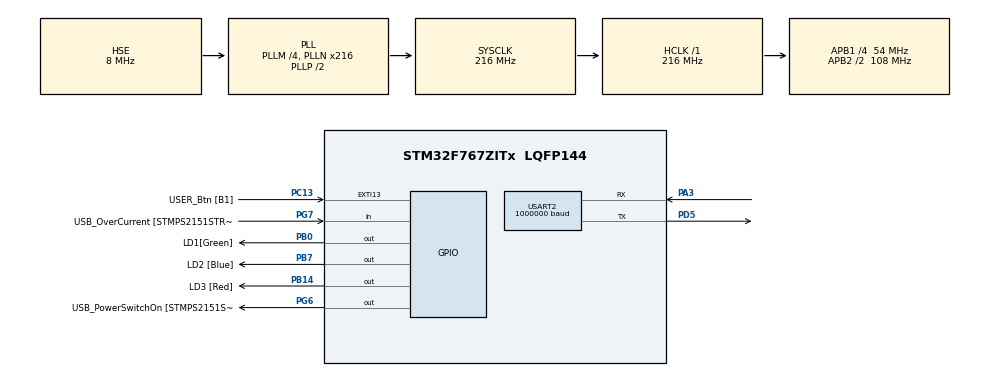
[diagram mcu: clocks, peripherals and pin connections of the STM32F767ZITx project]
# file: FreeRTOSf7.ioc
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FREERTOS.INCLUDE_vTaskDelayUntil=1
FREERTOS.Tasks01=defaultTask,0,128,StartDefaultTask,Default,NULL
FREERTOS.configUSE_COUNTING_SEMAPHORES=1
Mcu.Family=STM32F7
Mcu.Name=STM32F767ZITx
Mcu.Package=LQFP144
NVIC.PriorityGroup=NVIC_PRIORITYGROUP_4
NVIC.TIM1_UP_TIM10_IRQn=true\:0\:0\:false\:false\:true\:false\:false
NVIC.TimeBase=TIM1_UP_TIM10_IRQn
NVIC.TimeBaseIP=TIM1
NVIC.USART2_IRQn=true\:5\:0\:false\:true\:true\:1\:true\:true
PA1.GPIO_Label=RMII_REF_CLK [LAN8742A-CZ-TR_REFCLK0]
PA1.Signal=ETH_REF_CLK
PA10.GPIO_Label=USB_ID
PA10.Signal=USB_OTG_FS_ID
PA11.GPIO_Label=USB_DM
PA11.Signal=USB_OTG_FS_DM
PA12.GPIO_Label=USB_DP
PA12.Signal=USB_OTG_FS_DP
PA13.GPIO_Label=TMS
PA13.Mode=Serial_Wire
PA13.Signal=SYS_JTMS-SWDIO
PA14.GPIO_Label=TCK
PA14.Mode=Serial_Wire
PA14.Signal=SYS_JTCK-SWCLK
PA2.GPIO_Label=RMII_MDIO [LAN8742A-CZ-TR_MDIO]
PA2.Signal=ETH_MDIO
PA3.Mode=Asynchronous
PA3.Signal=USART2_RX
PA7.GPIO_Label=RMII_CRS_DV [LAN8742A-CZ-TR_CRS_DV]
PA7.Signal=ETH_CRS_DV
PA8.GPIO_Label=USB_SOF [TP1]
PA8.Signal=USB_OTG_FS_SOF
PA9.GPIO_Label=USB_VBUS
PA9.Signal=USB_OTG_FS_VBUS
PB0.GPIO_Label=LD1[Green]
PB0.Signal=GPIO_Output
PB13.GPIO_Label=RMII_TXD1 [LAN8742A-CZ-TR_TXD1]
PB13.Signal=ETH_TXD1
PB14.GPIO_Label=LD3 [Red]
PB14.Signal=GPIO_Output
PB3.GPIO_Label=SWO
PB3.Signal=SYS_JTDO-SWO
PB7.GPIO_Label=LD2 [Blue]
PB7.Signal=GPIO_Output
PC1.GPIO_Label=RMII_MDC [LAN8742A-CZ-TR_MDC]
PC1.Signal=ETH_MDC
PC13.GPIO_Label=USER_Btn [B1]
PC13.Signal=GPXTI13
PC14/OSC32_IN.Mode=LSE-External-Oscillator
PC14/OSC32_IN.Signal=RCC_OSC32_IN
PC15/OSC32_OUT.Mode=LSE-External-Oscillator
PC15/OSC32_OUT.Signal=RCC_OSC32_OUT
PC4.GPIO_Label=RMII_RXD0 [LAN8742A-CZ-TR_RXD0]
PC4.Signal=ETH_RXD0
PC5.GPIO_Label=RMII_RXD1 [LAN8742A-CZ-TR_RXD1]
PC5.Signal=ETH_RXD1
PD5.Mode=Asynchronous
PD5.Signal=USART2_TX
PD8.GPIO_Label=STLK_RX [STM32F103CBT6_PA3]
PD8.Signal=USART3_TX
PD9.GPIO_Label=STLK_TX [STM32F103CBT6_PA2]
PD9.Signal=USART3_RX
PG11.GPIO_Label=RMII_TX_EN [LAN8742A-CZ-TR_TXEN]
PG11.Signal=ETH_TX_EN
PG13.GPIO_Label=RMII_TXD0 [LAN8742A-CZ-TR_TXD0]
PG13.Signal=ETH_TXD0
PG6.GPIO_Label=USB_PowerSwitchOn [STMPS2151STR_EN]
PG6.Signal=GPIO_Output
PG7.GPIO_Label=USB_OverCurrent [STMPS2151STR_FAULT]
PG7.Signal=GPIO_Input
PH0/OSC_IN.GPIO_Label=MCO [STM32F103CBT6_PA8]
PH0/OSC_IN.Mode=HSE-External-Clock-Source
PH0/OSC_IN.Signal=RCC_OSC_IN
PH1/OSC_OUT.Mode=HSE-External-Clock-Source
PH1/OSC_OUT.Signal=RCC_OSC_OUT
ProjectManager.HeapSize=0x200
ProjectManager.StackSize=0x400
ProjectManager.TargetToolchain=SW4STM32
RCC.48MHZClocksFreq_Value=24000000
RCC.AHBFreq_Value=216000000
RCC.APB1CLKDivider=RCC_HCLK_DIV4
RCC.APB1Freq_Value=54000000
RCC.APB1TimFreq_Value=108000000
RCC.APB2CLKDivider=RCC_HCLK_DIV2
RCC.APB2Freq_Value=108000000
RCC.APB2TimFreq_Value=216000000
RCC.CortexFreq_Value=216000000
RCC.HCLKFreq_Value=216000000
RCC.HSE_VALUE=8000000
RCC.HSI_VALUE=16000000
RCC.PLLM=4
RCC.PLLMUL=RCC_PLL_MUL9
RCC.PLLN=216
RCC.PLLQ=9
RCC.PLLSourceVirtual=RCC_PLLSOURCE_HSE
RCC.PRESCALERUSB=RCC_USBCLKSOURCE_PLL_DIV1_5
RCC.SYSCLKFreq_VALUE=216000000
RCC.SYSCLKSource=RCC_SYSCLKSOURCE_PLLCLK
RCC.SYSCLKSourceVirtual=RCC_SYSCLKSOURCE_PLLCLK
RCC.USBFreq_Value=48000000
RCC.VCOOutputFreq_Value=432000000
USART2.BaudRate=1000000
USART2.Mode=MODE_TX_RX
USART2.VirtualMode-Asynchronous=VM_ASYNC
USART2.WordLength=WORDLENGTH_8B
VP_FREERTOS_VS_ENABLE.Mode=Enabled
VP_SYS_VS_tim1.Mode=TIM1
board=NUCLEO-F767ZI

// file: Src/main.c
/**
  ******************************************************************************
  * @file           : main.c
  * @brief          : Main program body
  ******************************************************************************
  * This notice applies to any and all portions of this file
  * that are not between comment pairs USER CODE BEGIN and
  * USER CODE END. Other portions of this file, whether
  * inserted by the user or by software development tools
  * are owned by their respective copyright owners.
  *
  * Copyright (c) 2018 STMicroelectronics International N.V.
  * All rights reserved.
  *
  * Redistribution and use in source and binary forms, with or without
  * modification, are permitted, provided that the following conditions are met:
  *
  * 1. Redistribution of source code must retain the above copyright notice,
  *    this list of conditions and the following disclaimer.
  * 2. Redistributions in binary form must reproduce the above copyright notice,
  *    this list of conditions and the following disclaimer in the documentation
  *    and/or other materials provided with the distribution.
  * 3. Neither the name of STMicroelectronics nor the names of other
  *    contributors to this software may be used to endorse or promote products
  *    derived from this software without specific written permission.
  * 4. This software, including modifications and/or derivative works of this
  *    software, must execute solely and exclusively on microcontroller or
  *    microprocessor devices manufactured by or for STMicroelectronics.
  * 5. Redistribution and use of this software other than as permitted under
  *    this license is void and will automatically terminate your rights under
  *    this license.
  *
  * THIS SOFTWARE IS PROVIDED BY STMICROELECTRONICS AND CONTRIBUTORS "AS IS"
  * AND ANY EXPRESS, IMPLIED OR STATUTORY WARRANTIES, INCLUDING, BUT NOT
  * LIMITED TO, THE IMPLIED WARRANTIES OF MERCHANTABILITY, FITNESS FOR A
  * PARTICULAR PURPOSE AND NON-INFRINGEMENT OF THIRD PARTY INTELLECTUAL PROPERTY
  * RIGHTS ARE DISCLAIMED TO THE FULLEST EXTENT PERMITTED BY LAW. IN NO EVENT
  * SHALL STMICROELECTRONICS OR CONTRIBUTORS BE LIABLE FOR ANY DIRECT, INDIRECT,
  * INCIDENTAL, SPECIAL, EXEMPLARY, OR CONSEQUENTIAL DAMAGES (INCLUDING, BUT NOT
  * LIMITED TO, PROCUREMENT OF SUBSTITUTE GOODS OR SERVICES; LOSS OF USE, DATA,
  * OR PROFITS; OR BUSINESS INTERRUPTION) HOWEVER CAUSED AND ON ANY THEORY OF
  * LIABILITY, WHETHER IN CONTRACT, STRICT LIABILITY, OR TORT (INCLUDING
  * NEGLIGENCE OR OTHERWISE) ARISING IN ANY WAY OUT OF THE USE OF THIS SOFTWARE,
  * EVEN IF ADVISED OF THE POSSIBILITY OF SUCH DAMAGE.
  *
  ******************************************************************************
  */
#include "main.h"
#include "stm32f7xx_hal.h"
#include "cmsis_os.h"

/* USER CODE BEGIN Includes */
#include "stm32f767xx.h"
#include "stm32f7xx.h"
#include "selfFIFO.h"
#include "stm32f7xx_nucleo_144.h"
#include "stdlib.h"
/* USER CODE END Includes */

UART_HandleTypeDef huart2;

osThreadId defaultTaskHandle;

/* USER CODE BEGIN PV */
/* Private variables ---------------------------------------------------------*/
osThreadId defaultTaskHandle;

osThreadId TempReadTaskHandle;
osThreadId HumidityReadTaskHandle;
osThreadId dataCaptureTaskHandle;

osMessageQId infoQueueHandle;
osSemaphoreId triggerSemaphore;//
osMutexId lcdMutex;
/* USER CODE END PV */

void SystemClock_Config(void);
static void MX_GPIO_Init(void);
static void MX_USART2_UART_Init(void);
void StartDefaultTask(void const * argument);
static void MX_NVIC_Init(void);

/* USER CODE BEGIN PFP */
/* Private function prototypes -----------------------------------------------*/
void uartSendITHandler(UART_HandleTypeDef huart);
void uartReceiveITHandler(UART_HandleTypeDef huart);

void TempReadTask(); // The temperature will be read every 2secs and displayed/written in a Queue towards the data Capture Task
void HumidityReadTask(); // The humidity will be read every 2secs and displayed/written in a Queue towards the data Capture Task
void dataCaptureTask();// The data will be saved in this task

// Tracesniffer Test: The functions arent implemented
int readTemp();    //Reads the temp // Displayed with flashing of LED3
int readHumidity(); //Reads the temp // Displayed with flashing of LED3
void writeToLCD(); // The LCD is a shared resource// It takes 500ms to write to the LCD // Displayed with LED1
void saveData(); //Data is saved // Displayed by LED2
/* USER CODE END PFP */

int main(void)
{

  /* MCU Configuration----------------------------------------------------------*/

  /* Reset of all peripherals, Initializes the Flash interface and the Systick. */
  HAL_Init();

  /* Configure the system clock */
  SystemClock_Config();

  /* Initialize all configured peripherals */
  MX_GPIO_Init();
  MX_USART2_UART_Init();

  /* Initialize interrupts */
  MX_NVIC_Init();
  /* USER CODE BEGIN 2 */
  initialiseTraceSniffer();
  //traceSTART();

  osMessageQDef(infoQueueHandle, 10, int);
  infoQueueHandle = osMessageCreate(osMessageQ(infoQueueHandle), NULL);
  /* USER CODE END 2 */

  /* USER CODE BEGIN RTOS_MUTEX */

  lcdMutex=xSemaphoreCreateMutex();
  /* USER CODE END RTOS_MUTEX */

  /* USER CODE BEGIN RTOS_SEMAPHORES */
  triggerSemaphore=xSemaphoreCreateCounting(5,0);
  /* USER CODE END 2 */

  /* USER CODE BEGIN RTOS_MUTEX */
  /* add mutexes, ... */
  /* USER CODE END RTOS_MUTEX */

  /* USER CODE BEGIN RTOS_SEMAPHORES */
  /* add semaphores, ... */
  /* USER CODE END RTOS_SEMAPHORES */

  /* Create the thread(s) */
  /* definition and creation of defaultTask */
  //osThreadDef(defaultTask, StartDefaultTask, osPriorityNormal, 0, 128);
 // defaultTaskHandle = osThreadCreate(osThread(defaultTask), NULL);

  /* USER CODE BEGIN RTOS_THREADS */
  osThreadDef(Temp, TempReadTask, osPriorityBelowNormal, 0, 128);
  TempReadTaskHandle = osThreadCreate(osThread(Temp), NULL);

  osThreadDef(Humid, HumidityReadTask, osPriorityNormal, 0, 128);
  HumidityReadTaskHandle = osThreadCreate(osThread(Humid), NULL);

  osThreadDef(Data, dataCaptureTask, osPriorityAboveNormal, 0, 128);
  dataCaptureTaskHandle = osThreadCreate(osThread(Data), NULL);
  /* USER CODE END RTOS_THREADS */

  /* Start scheduler */
  osKernelStart();

  /* We should never get here as control is now taken by the scheduler */

  /* Infinite loop */
  while (1)
  {

  }

}

void SystemClock_Config(void)
{

  RCC_OscInitTypeDef RCC_OscInitStruct;
  RCC_ClkInitTypeDef RCC_ClkInitStruct;
  RCC_PeriphCLKInitTypeDef PeriphClkInitStruct;

    /**Configure the main internal regulator output voltage
    */
  __HAL_RCC_PWR_CLK_ENABLE();

  __HAL_PWR_VOLTAGESCALING_CONFIG(PWR_REGULATOR_VOLTAGE_SCALE1);

    /**Initializes the CPU, AHB and APB busses clocks
    */
  RCC_OscInitStruct.OscillatorType = RCC_OSCILLATORTYPE_HSE;
  RCC_OscInitStruct.HSEState = RCC_HSE_BYPASS;
  RCC_OscInitStruct.PLL.PLLState = RCC_PLL_ON;
  RCC_OscInitStruct.PLL.PLLSource = RCC_PLLSOURCE_HSE;
  RCC_OscInitStruct.PLL.PLLM = 4;
  RCC_OscInitStruct.PLL.PLLN = 216;
  RCC_OscInitStruct.PLL.PLLP = RCC_PLLP_DIV2;
  RCC_OscInitStruct.PLL.PLLQ = 9;
  if (HAL_RCC_OscConfig(&RCC_OscInitStruct) != HAL_OK)
  {
    _Error_Handler(__FILE__, __LINE__);
  }

    /**Activate the Over-Drive mode
    */
  if (HAL_PWREx_EnableOverDrive() != HAL_OK)
  {
    _Error_Handler(__FILE__, __LINE__);
  }

    /**Initializes the CPU, AHB and APB busses clocks
    */
  RCC_ClkInitStruct.ClockType = RCC_CLOCKTYPE_HCLK|RCC_CLOCKTYPE_SYSCLK
                              |RCC_CLOCKTYPE_PCLK1|RCC_CLOCKTYPE_PCLK2;
  RCC_ClkInitStruct.SYSCLKSource = RCC_SYSCLKSOURCE_PLLCLK;
  RCC_ClkInitStruct.AHBCLKDivider = RCC_SYSCLK_DIV1;
  RCC_ClkInitStruct.APB1CLKDivider = RCC_HCLK_DIV4;
  RCC_ClkInitStruct.APB2CLKDivider = RCC_HCLK_DIV2;

  if (HAL_RCC_ClockConfig(&RCC_ClkInitStruct, FLASH_LATENCY_7) != HAL_OK)
  {
    _Error_Handler(__FILE__, __LINE__);
  }

  PeriphClkInitStruct.PeriphClockSelection = RCC_PERIPHCLK_USART2;
  PeriphClkInitStruct.Usart2ClockSelection = RCC_USART2CLKSOURCE_PCLK1;
  if (HAL_RCCEx_PeriphCLKConfig(&PeriphClkInitStruct) != HAL_OK)
  {
    _Error_Handler(__FILE__, __LINE__);
  }

    /**Configure the Systick interrupt time
    */
  HAL_SYSTICK_Config(HAL_RCC_GetHCLKFreq()/1000);

    /**Configure the Systick
    */
  HAL_SYSTICK_CLKSourceConfig(SYSTICK_CLKSOURCE_HCLK);

  /* SysTick_IRQn interrupt configuration */
  HAL_NVIC_SetPriority(SysTick_IRQn, 15, 0);
}

/**
  * @brief NVIC Configuration.
  * @retval None
  */
static void MX_NVIC_Init(void)
{
  /* USART2_IRQn interrupt configuration */
  HAL_NVIC_SetPriority(USART2_IRQn, 5, 0);
  HAL_NVIC_EnableIRQ(USART2_IRQn);
}

/* USART2 init function */
static void MX_USART2_UART_Init(void)
{

  huart2.Instance = USART2;
  huart2.Init.BaudRate = 1000000;
  huart2.Init.WordLength = UART_WORDLENGTH_8B;
  huart2.Init.StopBits = UART_STOPBITS_1;
  huart2.Init.Parity = UART_PARITY_NONE;
  huart2.Init.Mode = UART_MODE_TX_RX;
  huart2.Init.HwFlowCtl = UART_HWCONTROL_NONE;
  huart2.Init.OverSampling = UART_OVERSAMPLING_16;
  huart2.Init.OneBitSampling = UART_ONE_BIT_SAMPLE_DISABLE;
  huart2.AdvancedInit.AdvFeatureInit = UART_ADVFEATURE_NO_INIT;
  if (HAL_UART_Init(&huart2) != HAL_OK)
  {
    _Error_Handler(__FILE__, __LINE__);
  }

}

/** Configure pins as
        * Analog
        * Input
        * Output
        * EVENT_OUT
        * EXTI
     PC1   ------> ETH_MDC
     PA1   ------> ETH_REF_CLK
     PA2   ------> ETH_MDIO
     PA7   ------> ETH_CRS_DV
     PC4   ------> ETH_RXD0
     PC5   ------> ETH_RXD1
     PB13   ------> ETH_TXD1
     PD8   ------> USART3_TX
     PD9   ------> USART3_RX
     PA8   ------> USB_OTG_FS_SOF
     PA9   ------> USB_OTG_FS_VBUS
     PA10   ------> USB_OTG_FS_ID
     PA11   ------> USB_OTG_FS_DM
     PA12   ------> USB_OTG_FS_DP
     PG11   ------> ETH_TX_EN
     PG13   ------> ETH_TXD0
*/
static void MX_GPIO_Init(void)
{

  GPIO_InitTypeDef GPIO_InitStruct;

  /* GPIO Ports Clock Enable */
  __HAL_RCC_GPIOC_CLK_ENABLE();
  __HAL_RCC_GPIOH_CLK_ENABLE();
  __HAL_RCC_GPIOA_CLK_ENABLE();
  __HAL_RCC_GPIOB_CLK_ENABLE();
  __HAL_RCC_GPIOD_CLK_ENABLE();
  __HAL_RCC_GPIOG_CLK_ENABLE();

  /*Configure GPIO pin Output Level */
  HAL_GPIO_WritePin(GPIOB, LD1_Pin|LD3_Pin|LD2_Pin, GPIO_PIN_RESET);

  /*Configure GPIO pin Output Level */
  HAL_GPIO_WritePin(USB_PowerSwitchOn_GPIO_Port, USB_PowerSwitchOn_Pin, GPIO_PIN_RESET);

  /*Configure GPIO pin : USER_Btn_Pin */
  GPIO_InitStruct.Pin = USER_Btn_Pin;
  GPIO_InitStruct.Mode = GPIO_MODE_IT_RISING;
  GPIO_InitStruct.Pull = GPIO_NOPULL;
  HAL_GPIO_Init(USER_Btn_GPIO_Port, &GPIO_InitStruct);

  /*Configure GPIO pins : RMII_MDC_Pin RMII_RXD0_Pin RMII_RXD1_Pin */
  GPIO_InitStruct.Pin = RMII_MDC_Pin|RMII_RXD0_Pin|RMII_RXD1_Pin;
  GPIO_InitStruct.Mode = GPIO_MODE_AF_PP;
  GPIO_InitStruct.Pull = GPIO_NOPULL;
  GPIO_InitStruct.Speed = GPIO_SPEED_FREQ_VERY_HIGH;
  GPIO_InitStruct.Alternate = GPIO_AF11_ETH;
  HAL_GPIO_Init(GPIOC, &GPIO_InitStruct);

  /*Configure GPIO pins : RMII_REF_CLK_Pin RMII_MDIO_Pin RMII_CRS_DV_Pin */
  GPIO_InitStruct.Pin = RMII_REF_CLK_Pin|RMII_MDIO_Pin|RMII_CRS_DV_Pin;
  GPIO_InitStruct.Mode = GPIO_MODE_AF_PP;
  GPIO_InitStruct.Pull = GPIO_NOPULL;
  GPIO_InitStruct.Speed = GPIO_SPEED_FREQ_VERY_HIGH;
  GPIO_InitStruct.Alternate = GPIO_AF11_ETH;
  HAL_GPIO_Init(GPIOA, &GPIO_InitStruct);

  /*Configure GPIO pins : LD1_Pin LD3_Pin LD2_Pin */
  GPIO_InitStruct.Pin = LD1_Pin|LD3_Pin|LD2_Pin;
  GPIO_InitStruct.Mode = GPIO_MODE_OUTPUT_PP;
  GPIO_InitStruct.Pull = GPIO_NOPULL;
  GPIO_InitStruct.Speed = GPIO_SPEED_FREQ_LOW;
  HAL_GPIO_Init(GPIOB, &GPIO_InitStruct);

  /*Configure GPIO pin : RMII_TXD1_Pin */
  GPIO_InitStruct.Pin = RMII_TXD1_Pin;
  GPIO_InitStruct.Mode = GPIO_MODE_AF_PP;
  GPIO_InitStruct.Pull = GPIO_NOPULL;
  GPIO_InitStruct.Speed = GPIO_SPEED_FREQ_VERY_HIGH;
  GPIO_InitStruct.Alternate = GPIO_AF11_ETH;
  HAL_GPIO_Init(RMII_TXD1_GPIO_Port, &GPIO_InitStruct);

  /*Configure GPIO pins : STLK_RX_Pin STLK_TX_Pin */
  GPIO_InitStruct.Pin = STLK_RX_Pin|STLK_TX_Pin;
  GPIO_InitStruct.Mode = GPIO_MODE_AF_PP;
  GPIO_InitStruct.Pull = GPIO_NOPULL;
  GPIO_InitStruct.Speed = GPIO_SPEED_FREQ_VERY_HIGH;
  GPIO_InitStruct.Alternate = GPIO_AF7_USART3;
  HAL_GPIO_Init(GPIOD, &GPIO_InitStruct);

  /*Configure GPIO pin : USB_PowerSwitchOn_Pin */
  GPIO_InitStruct.Pin = USB_PowerSwitchOn_Pin;
  GPIO_InitStruct.Mode = GPIO_MODE_OUTPUT_PP;
  GPIO_InitStruct.Pull = GPIO_NOPULL;
  GPIO_InitStruct.Speed = GPIO_SPEED_FREQ_LOW;
  HAL_GPIO_Init(USB_PowerSwitchOn_GPIO_Port, &GPIO_InitStruct);

  /*Configure GPIO pin : USB_OverCurrent_Pin */
  GPIO_InitStruct.Pin = USB_OverCurrent_Pin;
  GPIO_InitStruct.Mode = GPIO_MODE_INPUT;
  GPIO_InitStruct.Pull = GPIO_NOPULL;
  HAL_GPIO_Init(USB_OverCurrent_GPIO_Port, &GPIO_InitStruct);

  /*Configure GPIO pins : USB_SOF_Pin USB_ID_Pin USB_DM_Pin USB_DP_Pin */
  GPIO_InitStruct.Pin = USB_SOF_Pin|USB_ID_Pin|USB_DM_Pin|USB_DP_Pin;
  GPIO_InitStruct.Mode = GPIO_MODE_AF_PP;
  GPIO_InitStruct.Pull = GPIO_NOPULL;
  GPIO_InitStruct.Speed = GPIO_SPEED_FREQ_VERY_HIGH;
  GPIO_InitStruct.Alternate = GPIO_AF10_OTG_FS;
  HAL_GPIO_Init(GPIOA, &GPIO_InitStruct);

  /*Configure GPIO pin : USB_VBUS_Pin */
  GPIO_InitStruct.Pin = USB_VBUS_Pin;
  GPIO_InitStruct.Mode = GPIO_MODE_INPUT;
  GPIO_InitStruct.Pull = GPIO_NOPULL;
  HAL_GPIO_Init(USB_VBUS_GPIO_Port, &GPIO_InitStruct);

  /*Configure GPIO pins : RMII_TX_EN_Pin RMII_TXD0_Pin */
  GPIO_InitStruct.Pin = RMII_TX_EN_Pin|RMII_TXD0_Pin;
  GPIO_InitStruct.Mode = GPIO_MODE_AF_PP;
  GPIO_InitStruct.Pull = GPIO_NOPULL;
  GPIO_InitStruct.Speed = GPIO_SPEED_FREQ_VERY_HIGH;
  GPIO_InitStruct.Alternate = GPIO_AF11_ETH;
  HAL_GPIO_Init(GPIOG, &GPIO_InitStruct);

}

/* USER CODE BEGIN 4 */
void uartReceiveITHandler(UART_HandleTypeDef huart)
{
	uint8_t data;
	//HAL_UART_Receive(&huart,&data,1,0);
	data = READ_REG(huart.Instance->RDR);
	//HAL_UART_Receive_IT(huart,&data,1);
	sendReceivedByteToSniffTask(data);

}

void uartSendITHandler(UART_HandleTypeDef huart)
{
	uint8_t msg = 0;
	if(BufferOut(&msg)==BUFFER_SUCCESS)
	{
		huart.Instance->TDR=(msg & (uint8_t)0xFFU);
	}
	else{

		CLEAR_BIT(huart.Instance->CR1, USART_CR1_TXEIE);

	}

}
int readTemp()    //Reads the temp // Displayed with flashing of LED3
{
	BSP_LED_On(LED3);
	HAL_Delay(50);
	BSP_LED_Off(LED3);
	return rand();
}
int readHumidity() //Reads the humidity // Displayed with flashing of LED3
{
	BSP_LED_On(LED3);
	HAL_Delay(50);
	BSP_LED_Off(LED3);
	return rand();
}

void writeToLCD() // The LCD is a shared resource// It takes 500ms to write to the LCD // Displayed with LED1
{
	BSP_LED_On(LED1);
	HAL_Delay(40);
	BSP_LED_Off(LED1);
	HAL_Delay(50);
}

void saveData() //Data is saved // Displayed by LED2
{
	BSP_LED_On(LED2);
	HAL_Delay(100);
	BSP_LED_Off(LED2);
}
void TempReadTask()
{
	TickType_t lastwoken;
	lastwoken = xTaskGetTickCount();
	int temp;
//	traceCUSTOM_MARKER_1();
	while(1)
	{
		osDelayUntil(&lastwoken,2000);
		temp=readTemp();
		xQueueSend(infoQueueHandle,&temp,portMAX_DELAY);
		if(xSemaphoreTake(lcdMutex,portMAX_DELAY)){
			writeToLCD();
			xSemaphoreGive(lcdMutex);
		}

	}
}
void HumidityReadTask()
{
	TickType_t lastwoken;
	lastwoken = xTaskGetTickCount();
	int humidity;
//	traceCUSTOM_MARKER_2();
	while(1)
	{
		osDelayUntil(&lastwoken,2000);

		//writeFIFO(sniffFifo,&humidity,4,prioRECEIVE);
		//sendObjectList();

		humidity=readHumidity();
		xQueueSend(infoQueueHandle,&humidity,portMAX_DELAY);
		if(xSemaphoreTake(lcdMutex,portMAX_DELAY)){
			writeToLCD();
			xSemaphoreGive(lcdMutex);
		}
	}
}
void dataCaptureTask()
{
	int info;
//	traceCUSTOM_MARKER_3();
	while(1)
	{
		xQueueReceive(infoQueueHandle,&info,portMAX_DELAY);
		saveData();
	}
}
/* USER CODE END 4 */

/* StartDefaultTask function */
void StartDefaultTask(void const * argument)
{

  for(;;)
  {
    osDelay(1);
  }
}

void HAL_TIM_PeriodElapsedCallback(TIM_HandleTypeDef *htim)
{
  if (htim->Instance == TIM1) {
    HAL_IncTick();
  }
}

void _Error_Handler(char *file, int line)
{
  while(1)
  {
  }
}

/************************ (C) COPYRIGHT STMicroelectronics *****END OF FILE****/
